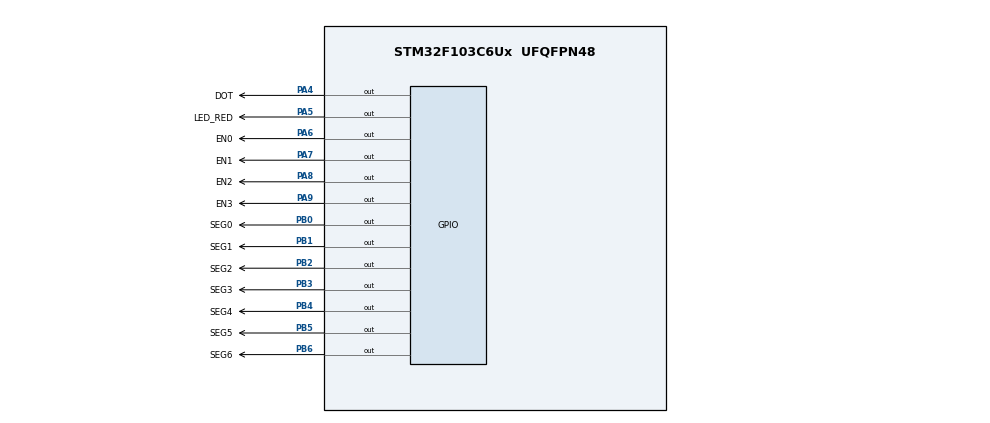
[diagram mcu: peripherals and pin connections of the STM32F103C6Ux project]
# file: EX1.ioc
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Mcu.Family=STM32F1
Mcu.Name=STM32F103C6Ux
Mcu.Package=UFQFPN48
NVIC.PriorityGroup=NVIC_PRIORITYGROUP_4
NVIC.TIM2_IRQn=true\:0\:0\:false\:false\:true\:true\:true
PA4.GPIO_Label=DOT
PA4.Signal=GPIO_Output
PA5.GPIO_Label=LED_RED
PA5.Signal=GPIO_Output
PA6.GPIO_Label=EN0
PA6.Signal=GPIO_Output
PA7.GPIO_Label=EN1
PA7.Signal=GPIO_Output
PA8.GPIO_Label=EN2
PA8.Signal=GPIO_Output
PA9.GPIO_Label=EN3
PA9.Signal=GPIO_Output
PB0.GPIO_Label=SEG0
PB0.Signal=GPIO_Output
PB1.GPIO_Label=SEG1
PB1.Signal=GPIO_Output
PB2.GPIO_Label=SEG2
PB2.Signal=GPIO_Output
PB3.GPIO_Label=SEG3
PB3.Signal=GPIO_Output
PB4.GPIO_Label=SEG4
PB4.Signal=GPIO_Output
PB5.GPIO_Label=SEG5
PB5.Signal=GPIO_Output
PB6.GPIO_Label=SEG6
PB6.Signal=GPIO_Output
ProjectManager.HeapSize=0x200
ProjectManager.StackSize=0x400
ProjectManager.TargetToolchain=STM32CubeIDE
RCC.APB1Freq_Value=8000000
RCC.APB2Freq_Value=8000000
TIM2.Period=9
TIM2.Prescaler=7999
VP_SYS_VS_ND.Mode=No_Debug
VP_TIM2_VS_ClockSourceINT.Mode=Internal
board=custom

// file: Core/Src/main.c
/* USER CODE BEGIN Header */
/**
  ******************************************************************************
  * @file           : main.c
  * @brief          : Main program body
  ******************************************************************************
  * @attention
  *
  * <h2><center>&copy; Copyright (c) 2024 STMicroelectronics.
  * All rights reserved.</center></h2>
  *
  * This software component is licensed by ST under BSD 3-Clause license,
  * the "License"; You may not use this file except in compliance with the
  * License. You may obtain a copy of the License at:
  *                        opensource.org/licenses/BSD-3-Clause
  *
  ******************************************************************************
  */
/* USER CODE END Header */
#include "main.h"
#include "software_timer.h"

TIM_HandleTypeDef htim2;

void SystemClock_Config(void);
static void MX_GPIO_Init(void);
static void MX_TIM2_Init(void);

void display7SEG(int counter){
	switch(counter){
	case 0:
		  HAL_GPIO_WritePin(SEG0_GPIO_Port, SEG0_Pin, RESET);
		  HAL_GPIO_WritePin(SEG1_GPIO_Port, SEG1_Pin, RESET);
		  HAL_GPIO_WritePin(SEG2_GPIO_Port, SEG2_Pin, RESET);
		  HAL_GPIO_WritePin(SEG3_GPIO_Port, SEG3_Pin, RESET);
		  HAL_GPIO_WritePin(SEG4_GPIO_Port, SEG4_Pin, RESET);
		  HAL_GPIO_WritePin(SEG5_GPIO_Port, SEG5_Pin, RESET);
		  HAL_GPIO_WritePin(SEG6_GPIO_Port, SEG6_Pin, SET);
		  break;
	case 1:

			  HAL_GPIO_WritePin(SEG0_GPIO_Port, SEG0_Pin, SET);
			  HAL_GPIO_WritePin(SEG1_GPIO_Port, SEG1_Pin, RESET);
			  HAL_GPIO_WritePin(SEG2_GPIO_Port, SEG2_Pin, RESET);
			  HAL_GPIO_WritePin(SEG3_GPIO_Port, SEG3_Pin, SET);
			  HAL_GPIO_WritePin(SEG4_GPIO_Port, SEG4_Pin, SET);
			  HAL_GPIO_WritePin(SEG5_GPIO_Port, SEG5_Pin, SET);
			  HAL_GPIO_WritePin(SEG6_GPIO_Port, SEG6_Pin, SET);

			  break;
	case 2:

		  HAL_GPIO_WritePin(SEG0_GPIO_Port, SEG0_Pin, RESET);
		  HAL_GPIO_WritePin(SEG1_GPIO_Port, SEG1_Pin, RESET);
		  HAL_GPIO_WritePin(SEG2_GPIO_Port, SEG2_Pin, SET);
		  HAL_GPIO_WritePin(SEG3_GPIO_Port, SEG3_Pin, RESET);
		  HAL_GPIO_WritePin(SEG4_GPIO_Port, SEG4_Pin, RESET);
		  HAL_GPIO_WritePin(SEG5_GPIO_Port, SEG5_Pin, SET);
		  HAL_GPIO_WritePin(SEG6_GPIO_Port, SEG6_Pin, RESET);

		  break;
	case 3:
		  HAL_GPIO_WritePin(SEG0_GPIO_Port, SEG0_Pin, RESET);
		  HAL_GPIO_WritePin(SEG1_GPIO_Port, SEG1_Pin, RESET);
		  HAL_GPIO_WritePin(SEG2_GPIO_Port, SEG2_Pin, RESET);
		  HAL_GPIO_WritePin(SEG3_GPIO_Port, SEG3_Pin, RESET);
		  HAL_GPIO_WritePin(SEG4_GPIO_Port, SEG4_Pin, SET);
		  HAL_GPIO_WritePin(SEG5_GPIO_Port, SEG5_Pin, SET);
		  HAL_GPIO_WritePin(SEG6_GPIO_Port, SEG6_Pin, RESET);
		  break;

	}
}
int main(void)
{

  /* MCU Configuration--------------------------------------------------------*/

  /* Reset of all peripherals, Initializes the Flash interface and the Systick. */
  HAL_Init();

  /* Configure the system clock */
  SystemClock_Config();

  /* Initialize all configured peripherals */
  MX_GPIO_Init();
  MX_TIM2_Init();
  /* USER CODE BEGIN 2 */
  HAL_TIM_Base_Start_IT(&htim2);
  /* USER CODE END 2 */

  /* Infinite loop */
  /* USER CODE BEGIN WHILE */
   setTimer1(50);
   setTimer2(100);
   int counter=0;
  while (1)
  {

	  if(timer1_flag==1){
	 		 if(counter==0){
	 			 display7SEG(0);
	 			 HAL_GPIO_WritePin(EN0_GPIO_Port, EN0_Pin, RESET);
	 			 HAL_GPIO_WritePin(EN1_GPIO_Port, EN1_Pin, SET);
	 			 HAL_GPIO_WritePin(EN2_GPIO_Port, EN2_Pin, SET);
	 			 HAL_GPIO_WritePin(EN3_GPIO_Port, EN3_Pin, SET);

	 			 counter=1;

	 		 }else if(counter==1)
	 		 {
	 			 display7SEG(0);
	 			 HAL_GPIO_WritePin(EN0_GPIO_Port, EN0_Pin, SET);
	 			 HAL_GPIO_WritePin(EN1_GPIO_Port, EN1_Pin, RESET);
	 			 HAL_GPIO_WritePin(EN2_GPIO_Port, EN2_Pin, SET);
	 			 HAL_GPIO_WritePin(EN3_GPIO_Port, EN3_Pin, SET);

	 			 counter=2;

	 		 }else if(counter==2)
	 		 {
	 			 display7SEG(3);
	 			 HAL_GPIO_WritePin(EN0_GPIO_Port, EN0_Pin, SET);
	 			 HAL_GPIO_WritePin(EN1_GPIO_Port, EN1_Pin, SET);
	 			 HAL_GPIO_WritePin(EN2_GPIO_Port, EN2_Pin, RESET);
	 			 HAL_GPIO_WritePin(EN3_GPIO_Port, EN3_Pin, SET);

	 			 counter=3;
	 		 }else if(counter==3){
	 			 display7SEG(0);
	 			 HAL_GPIO_WritePin(EN0_GPIO_Port, EN0_Pin, SET);
	 			 HAL_GPIO_WritePin(EN1_GPIO_Port, EN1_Pin, SET);
	 			 HAL_GPIO_WritePin(EN2_GPIO_Port, EN2_Pin, SET);
	 			 HAL_GPIO_WritePin(EN3_GPIO_Port, EN3_Pin, RESET);

	 			 counter=0;
	 		 }
	 		 setTimer1(50);
	 	 }

	 	 if(timer2_flag==1){
	 		 HAL_GPIO_TogglePin(DOT_GPIO_Port, DOT_Pin);
	 		 setTimer2(100);

	 	 }

    /* USER CODE END WHILE */

  }
}

void SystemClock_Config(void)
{
  RCC_OscInitTypeDef RCC_OscInitStruct = {0};
  RCC_ClkInitTypeDef RCC_ClkInitStruct = {0};

  /** Initializes the RCC Oscillators according to the specified parameters
  * in the RCC_OscInitTypeDef structure.
  */
  RCC_OscInitStruct.OscillatorType = RCC_OSCILLATORTYPE_HSI;
  RCC_OscInitStruct.HSIState = RCC_HSI_ON;
  RCC_OscInitStruct.HSICalibrationValue = RCC_HSICALIBRATION_DEFAULT;
  RCC_OscInitStruct.PLL.PLLState = RCC_PLL_NONE;
  if (HAL_RCC_OscConfig(&RCC_OscInitStruct) != HAL_OK)
  {
    Error_Handler();
  }
  /** Initializes the CPU, AHB and APB buses clocks
  */
  RCC_ClkInitStruct.ClockType = RCC_CLOCKTYPE_HCLK|RCC_CLOCKTYPE_SYSCLK
                              |RCC_CLOCKTYPE_PCLK1|RCC_CLOCKTYPE_PCLK2;
  RCC_ClkInitStruct.SYSCLKSource = RCC_SYSCLKSOURCE_HSI;
  RCC_ClkInitStruct.AHBCLKDivider = RCC_SYSCLK_DIV1;
  RCC_ClkInitStruct.APB1CLKDivider = RCC_HCLK_DIV1;
  RCC_ClkInitStruct.APB2CLKDivider = RCC_HCLK_DIV1;

  if (HAL_RCC_ClockConfig(&RCC_ClkInitStruct, FLASH_LATENCY_0) != HAL_OK)
  {
    Error_Handler();
  }
}

static void MX_TIM2_Init(void)
{

  TIM_ClockConfigTypeDef sClockSourceConfig = {0};
  TIM_MasterConfigTypeDef sMasterConfig = {0};

  htim2.Instance = TIM2;
  htim2.Init.Prescaler = 7999;
  htim2.Init.CounterMode = TIM_COUNTERMODE_UP;
  htim2.Init.Period = 9;
  htim2.Init.ClockDivision = TIM_CLOCKDIVISION_DIV1;
  htim2.Init.AutoReloadPreload = TIM_AUTORELOAD_PRELOAD_DISABLE;
  if (HAL_TIM_Base_Init(&htim2) != HAL_OK)
  {
    Error_Handler();
  }
  sClockSourceConfig.ClockSource = TIM_CLOCKSOURCE_INTERNAL;
  if (HAL_TIM_ConfigClockSource(&htim2, &sClockSourceConfig) != HAL_OK)
  {
    Error_Handler();
  }
  sMasterConfig.MasterOutputTrigger = TIM_TRGO_RESET;
  sMasterConfig.MasterSlaveMode = TIM_MASTERSLAVEMODE_DISABLE;
  if (HAL_TIMEx_MasterConfigSynchronization(&htim2, &sMasterConfig) != HAL_OK)
  {
    Error_Handler();
  }

}

static void MX_GPIO_Init(void)
{
  GPIO_InitTypeDef GPIO_InitStruct = {0};

  /* GPIO Ports Clock Enable */
  __HAL_RCC_GPIOA_CLK_ENABLE();
  __HAL_RCC_GPIOB_CLK_ENABLE();

  /*Configure GPIO pin Output Level */
  HAL_GPIO_WritePin(GPIOA, DOT_Pin|LED_RED_Pin|EN0_Pin|EN1_Pin
                          |EN2_Pin|EN3_Pin, GPIO_PIN_RESET);

  /*Configure GPIO pin Output Level */
  HAL_GPIO_WritePin(GPIOB, SEG0_Pin|SEG1_Pin|SEG2_Pin|SEG3_Pin
                          |SEG4_Pin|SEG5_Pin|SEG6_Pin, GPIO_PIN_RESET);

  /*Configure GPIO pins : DOT_Pin LED_RED_Pin EN0_Pin EN1_Pin
                           EN2_Pin EN3_Pin */
  GPIO_InitStruct.Pin = DOT_Pin|LED_RED_Pin|EN0_Pin|EN1_Pin
                          |EN2_Pin|EN3_Pin;
  GPIO_InitStruct.Mode = GPIO_MODE_OUTPUT_PP;
  GPIO_InitStruct.Pull = GPIO_NOPULL;
  GPIO_InitStruct.Speed = GPIO_SPEED_FREQ_LOW;
  HAL_GPIO_Init(GPIOA, &GPIO_InitStruct);

  /*Configure GPIO pins : SEG0_Pin SEG1_Pin SEG2_Pin SEG3_Pin
                           SEG4_Pin SEG5_Pin SEG6_Pin */
  GPIO_InitStruct.Pin = SEG0_Pin|SEG1_Pin|SEG2_Pin|SEG3_Pin
                          |SEG4_Pin|SEG5_Pin|SEG6_Pin;
  GPIO_InitStruct.Mode = GPIO_MODE_OUTPUT_PP;
  GPIO_InitStruct.Pull = GPIO_NOPULL;
  GPIO_InitStruct.Speed = GPIO_SPEED_FREQ_LOW;
  HAL_GPIO_Init(GPIOB, &GPIO_InitStruct);

}

/* USER CODE BEGIN 4 */
void HAL_TIM_PeriodElapsedCallback(TIM_HandleTypeDef *htim){
	runTime();

}
/* USER CODE END 4 */

void Error_Handler(void)
{
  __disable_irq();
  while (1)
  {
  }
}

/************************ (C) COPYRIGHT STMicroelectronics *****END OF FILE****/
